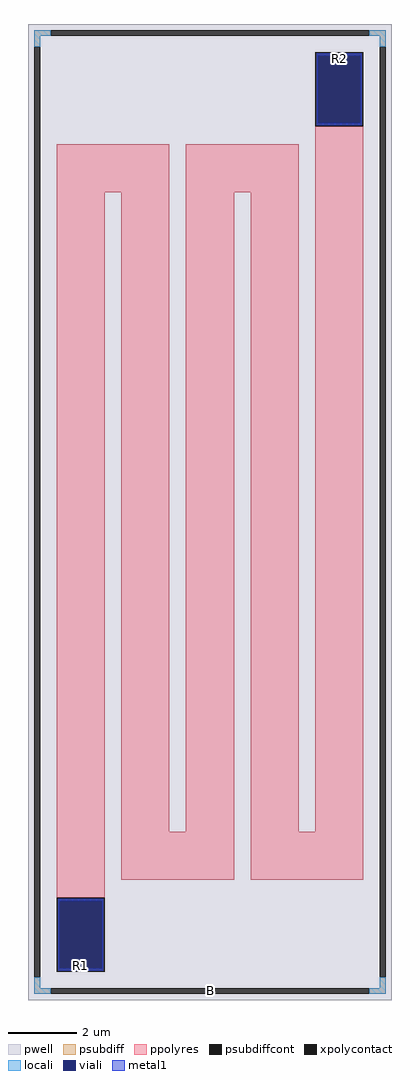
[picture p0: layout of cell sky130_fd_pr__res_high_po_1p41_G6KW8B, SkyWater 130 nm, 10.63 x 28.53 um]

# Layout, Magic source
magic
tech sky130A
magscale 1 2
<< pwell >>
rect -1063 -2853 1063 2853
<< psubdiff >>
rect -1027 2783 -931 2817
rect 931 2783 1027 2817
rect -1027 2721 -993 2783
rect 993 2721 1027 2783
rect -1027 -2783 -993 -2721
rect 993 -2783 1027 -2721
rect -1027 -2817 -931 -2783
rect 931 -2817 1027 -2783
<< psubdiffcont >>
rect -931 2783 931 2817
rect -1027 -2721 -993 2721
rect 993 -2721 1027 2721
rect -931 -2817 931 -2783
<< xpolycontact >>
rect 615 2255 897 2687
rect -897 -2687 -615 -2255
<< ppolyres >>
rect -897 1869 -237 2151
rect -897 -2255 -615 1869
rect -519 -1869 -237 1869
rect -141 1869 519 2151
rect -141 -1869 141 1869
rect -519 -2151 141 -1869
rect 237 -1869 519 1869
rect 615 -1869 897 2255
rect 237 -2151 897 -1869
<< locali >>
rect -1027 2783 -931 2817
rect 931 2783 1027 2817
rect -1027 2721 -993 2783
rect 993 2721 1027 2783
rect -1027 -2783 -993 -2721
rect 993 -2783 1027 -2721
rect -1027 -2817 -931 -2783
rect 931 -2817 1027 -2783
<< viali >>
rect 631 2272 881 2669
rect -881 -2669 -631 -2272
<< metal1 >>
rect 625 2669 887 2681
rect 625 2272 631 2669
rect 881 2272 887 2669
rect 625 2260 887 2272
rect -887 -2272 -625 -2260
rect -887 -2669 -881 -2272
rect -631 -2669 -625 -2272
rect -887 -2681 -625 -2669
<< labels >>
rlabel psubdiffcont 0 -2800 0 -2800 0 B
port 1 nsew
rlabel xpolycontact -756 -2652 -756 -2652 0 R1
port 2 nsew
rlabel xpolycontact 756 2652 756 2652 0 R2
port 3 nsew
<< properties >>
string FIXED_BBOX -1010 -2800 1010 2800
string gencell sky130_fd_pr__res_high_po_1p41
string library sky130
string parameters w 1.41 l 21.51 m 1 nx 5 wmin 1.410 lmin 0.50 class resistor rho 319.8 val 25.948k dummy 0 dw 0.0 term 194.82 sterm 0.0 caplen 0 guard 1 glc 1 grc 1 gtc 1 gbc 1 compatible {sky130_fd_pr__res_high_po_0p35  sky130_fd_pr__res_high_po_0p69 sky130_fd_pr__res_high_po_1p41  sky130_fd_pr__res_high_po_2p85 sky130_fd_pr__res_high_po_5p73} snake 1 full_metal 1 wmax 1.410 n_guard 0 hv_guard 0 vias 1 viagb 0 viagt 0 viagl 0 viagr 0 doports 1
<< end >>
